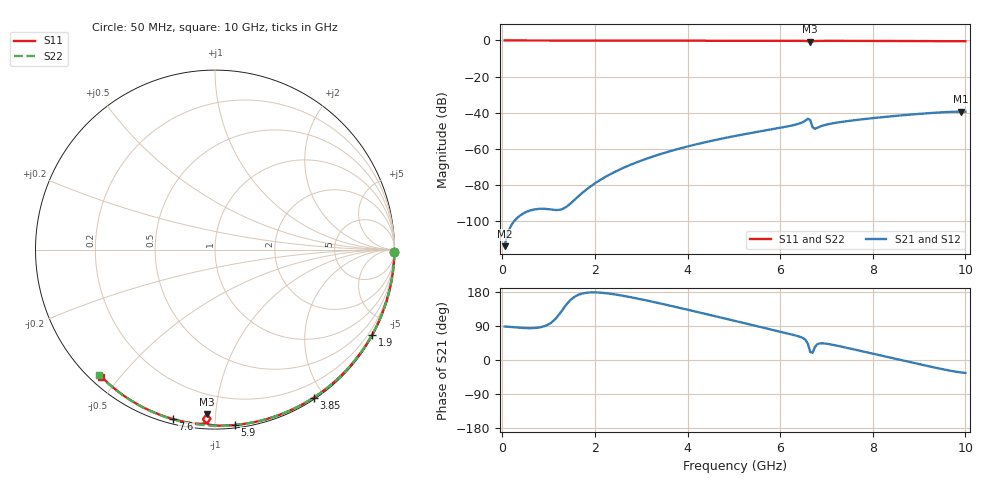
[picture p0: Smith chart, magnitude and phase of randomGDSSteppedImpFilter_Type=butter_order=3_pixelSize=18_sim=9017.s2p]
! freq	dB(S11)	phase(S11)	dB(S12)	phase(S12)
!  dB(S21)	phase(S21)	dB(S22)	phase(S22)
!S-par simulation data
#  GHz  S  DB  R 50
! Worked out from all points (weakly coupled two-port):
!   200 points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, 50 MHz to 10 GHz, reference 50 ohm
!   highest |S21| = -39.45 dB at 9.9 GHz (marker M1); lowest = -114.1 dB at 50 MHz (marker M2)
!   lowest |S11| = -0.8 dB at 6.65 GHz (marker M3), VSWR 23.06, Z = 4.12 - j47.4 ohm
!   |S11| at or under -10 dB: nowhere
!   |S22| runs from -0.4 to 0.0 dB; largest |S21 - S12| = 0
!   S11 on the Smith chart (normalised r, x): 50 MHz: open; 1.9 GHz: 0.03, -3.94; 3.85 GHz: 0.02, -1.87; 5.9 GHz: 0.02, -1.12; 7.6 GHz: 0.02, -0.78; 10 GHz: 0.03, -0.45
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0.05  -0.00 -0.8  -114.07 88.3  -114.07 88.3  -0.00 -0.8
0.9  -0.02 -13.6  -93.33 88.9  -93.33 88.9  -0.02 -13.7
1.75  -0.03 -26.3  -84.04 176.0  -84.04 176.0  -0.03 -26.3
1.9  -0.04 -28.5  -81.03 178.3  -81.03 178.3  -0.04 -28.6
1.95  -0.04 -29.2  -80.11 178.5  -80.11 178.5  -0.04 -29.3
2.25  -0.04 -33.6  -75.30 176.1  -75.30 176.1  -0.04 -33.7
2.65  -0.05 -39.4  -70.23 168.5  -70.23 168.5  -0.05 -39.5
3.4  -0.07 -50.0  -63.13 149.5  -63.13 149.5  -0.07 -50.2
3.85  -0.08 -56.3  -59.79 137.0  -59.79 137.0  -0.08 -56.4
5.05  -0.11 -72.5  -52.85 102.4  -52.85 102.4  -0.11 -72.6
5.9  -0.14 -83.6  -48.91 77.7  -48.91 77.7  -0.14 -83.6
6.4  -0.18 -90.4  -46.18 62.3  -46.18 62.3  -0.16 -89.9
6.5  -0.23 -92.0  -45.13 57.4  -45.13 57.4  -0.17 -91.1
6.6  -0.47 -94.1  -43.38 42.5  -43.38 42.5  -0.17 -92.3
6.65  -0.75 -92.9  -44.11 21.1  -44.11 21.1  -0.18 -93.0
6.7  -0.52 -91.5  -48.05 19.1  -48.05 19.1  -0.18 -93.6
6.75  -0.34 -92.3  -48.98 34.2  -48.98 34.2  -0.18 -94.2
7.05  -0.22 -97.0  -46.37 42.1  -46.37 42.1  -0.20 -97.9
7.6  -0.24 -103.9  -44.24 27.8  -44.24 27.8  -0.23 -104.5
8.35  -0.29 -112.8  -42.17 6.9  -42.17 6.9  -0.29 -113.3
9.9  -0.44 -130.7  -39.45 -32.8  -39.45 -32.8  -0.43 -131.6
10  -0.45 -131.8  -39.48 -34.1  -39.48 -34.1  -0.45 -132.8
